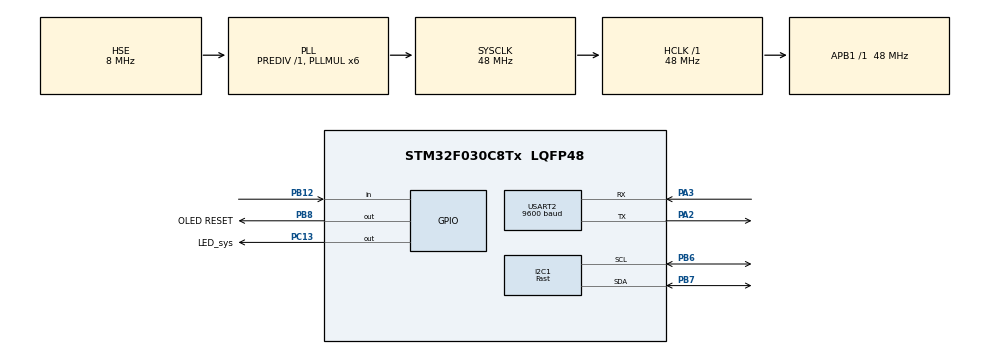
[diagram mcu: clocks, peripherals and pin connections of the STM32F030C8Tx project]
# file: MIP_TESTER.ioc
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I2C1.I2C_Speed_Mode=I2C_Fast
I2C1.Timing=0x0010020A
Mcu.Family=STM32F0
Mcu.Name=STM32F030C8Tx
Mcu.Package=LQFP48
PA13.Mode=Serial_Wire
PA13.Signal=SYS_SWDIO
PA14.Mode=Serial_Wire
PA14.Signal=SYS_SWCLK
PA2.Mode=Asynchronous
PA2.Signal=USART2_TX
PA3.Mode=Asynchronous
PA3.Signal=USART2_RX
PB12.GPIO_PuPd=GPIO_PULLUP
PB12.Signal=GPIO_Input
PB6.Mode=I2C
PB6.Signal=I2C1_SCL
PB7.Mode=I2C
PB7.Signal=I2C1_SDA
PB8.GPIO_Label=OLED RESET
PB8.PinState=GPIO_PIN_RESET
PB8.Signal=GPIO_Output
PC13.GPIO_Label=LED_sys
PC13.Signal=GPIO_Output
PF0-OSC_IN.Mode=HSE-External-Oscillator
PF0-OSC_IN.Signal=RCC_OSC_IN
PF1-OSC_OUT.Mode=HSE-External-Oscillator
PF1-OSC_OUT.Signal=RCC_OSC_OUT
ProjectManager.HeapSize=0x200
ProjectManager.StackSize=0x400
ProjectManager.TargetToolchain=STM32CubeIDE
RCC.AHBFreq_Value=48000000
RCC.APB1Freq_Value=48000000
RCC.APB1TimFreq_Value=48000000
RCC.HCLKFreq_Value=48000000
RCC.PLLMUL=RCC_PLL_MUL6
RCC.PLLSourceVirtual=RCC_PLLSOURCE_HSE
RCC.SYSCLKFreq_VALUE=48000000
RCC.SYSCLKSource=RCC_SYSCLKSOURCE_PLLCLK
USART2.BaudRate=9600
USART2.VirtualMode-Asynchronous=VM_ASYNC
board=custom

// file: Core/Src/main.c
/* USER CODE BEGIN Header */
/**
  ******************************************************************************
  * @file           : main.c
  * @brief          : Main program body
  ******************************************************************************
  * @attention
  *
  * Copyright (c) 2024 STMicroelectronics.
  * All rights reserved.
  *
  * This software is licensed under terms that can be found in the LICENSE file
  * in the root directory of this software component.
  * If no LICENSE file comes with this software, it is provided AS-IS.
  *
  ******************************************************************************
  */
/* USER CODE END Header */
#include "main.h"

/* USER CODE BEGIN Includes */
//#include "stdio.h"
#include "fonts.h"
#include "ssd1306.h"
#include "string.h"

/* USER CODE END Includes */

/* USER CODE BEGIN PD */
//#define X0 0	//ssd1306
#define X0 2	//sh1106
/* USER CODE END PD */

I2C_HandleTypeDef hi2c1;

UART_HandleTypeDef huart2;

/* USER CODE BEGIN PV */
_Bool short_state = 0; _Bool long_state = 0; uint32_t time_key1 = 0; //для кнопки
uint8_t page = 0; uint8_t selected = 0; uint8_t digitSelected = 0 ;uint8_t calibRestriction = 3;
uint32_t lastPing = 0;
uint8_t volPercent[]="0244";

/* USER CODE END PV */

void SystemClock_Config(void);
static void MX_GPIO_Init(void);
static void MX_I2C1_Init(void);
static void MX_USART2_UART_Init(void);

int main(void)
{

  /* USER CODE BEGIN 1 */
void lcdPrint(uint8_t x, uint8_t y, char message[], uint8_t fontsize){
	SSD1306_GotoXY(X0 + x, y);
	if 		(fontsize == 1) {SSD1306_Puts(message , &Font_7x10, 1);}
	else if (fontsize == 2) {SSD1306_Puts(message , &Font_11x18, 1);}
	else if (fontsize == 3) {SSD1306_Puts(message , &Font_16x26, 1);}
	else if	(fontsize == 10) {SSD1306_Puts(message , &Font_7x10, 0);}
	else if (fontsize == 20) {SSD1306_Puts(message , &Font_11x18, 0);}
	else if (fontsize == 30) {SSD1306_Puts(message , &Font_16x26, 0);}
}
void lcdPrintSymbol(uint8_t x, uint8_t y, char Symbol, uint8_t fontsize){
	SSD1306_GotoXY(X0 + x, y);
	if 		(fontsize == 1) {SSD1306_Putc(Symbol , &Font_7x10, 1);}
	else if (fontsize == 2) {SSD1306_Putc(Symbol , &Font_11x18, 1);}
	else if (fontsize == 3) {SSD1306_Putc(Symbol , &Font_16x26, 1);}
	else if	(fontsize == 10) {SSD1306_Putc(Symbol , &Font_7x10, 0);}
	else if (fontsize == 20) {SSD1306_Putc(Symbol , &Font_11x18, 0);}
	else if (fontsize == 30) {SSD1306_Putc(Symbol , &Font_16x26, 0);}
}

void lcdPrintUpdate(uint8_t x, uint8_t y, char message[], uint8_t fontsize){
	lcdPrint(x, y, message, fontsize);
	SSD1306_UpdateScreen();
}

void page0draw(void){
	if (HAL_GetTick()-lastPing > 1300){//таймаут опроса опроса
		HAL_GPIO_WritePin(GPIOC, GPIO_PIN_13, RESET);
		uint8_t msg[]={0x46,0x0D};  uint8_t rx_buffer[73]={0};  MX_USART2_UART_Init();

		HAL_UART_Transmit(&huart2, msg, sizeof(msg), 50);
		HAL_UART_Receive(&huart2, rx_buffer, 73, 100);
		if (rx_buffer[72] != 0x0D) {memset(rx_buffer, 0x20, sizeof(rx_buffer)/sizeof(rx_buffer[0]));}
		lastPing = HAL_GetTick();

		char C[6]={0};  char C1[6]={0};
		strncpy(C , &rx_buffer[43] , 5);
		strncpy(C1 , &rx_buffer[49] , 5);
		lcdPrint(0, 0, "C:        C1:", 1);
		lcdPrint(21, 0, C, 1); lcdPrint(91, 0, C1, 1);
	//		  	  lcdPrint(0, 0, rx_buffer, 1);//показать буфер

		char sn1[5]={0};	  char sn2[5]={0};
		strncpy(sn1 , &rx_buffer[61] , 4);
		strncpy(sn2 , &rx_buffer[65] , 4);
		lcdPrint(0, 13, "02", 2); lcdPrint(28, 13, sn1, 2); lcdPrint(78, 13, sn2, 2);

		uint8_t status[6]={0};
		strncpy(status , &rx_buffer[55] , 5);
		lcdPrint(0, 33, "status:", 1); lcdPrint(49, 33, status, 1);

	//	  char message[20]="";
		char message[20]={0};
		memset(message,' ',sizeof(message)/sizeof(message[0]));
		lcdPrint(0, 43, message, 1);
		if		(status[3] == '0' && status[4] == '0') {strcpy(message , "OK");}
		else if 	(status[3] == '1' && status[4] == '0') {strcpy(message , "warming up");}
		else if	(status[3] == '1' && status[4] == '1') {strcpy(message , "too many pings");}
		else if 	(status[3] == '2' && status[4] == '1') {strcpy(message , "dt/sec > 0.6 deg/s");}
		else if 	(status[3] == '2' && status[4] == '2') {strcpy(message , "dt/sec > 2 deg/s");}
		else if 	(status[3] == '2' && status[4] == '4') {strcpy(message , "dt; Zero < 0");}
		else if 	(status[3] == '3' && status[4] == '0') {strcpy(message , "Ur or Us < min");}
		else if 	(status[3] == '3' && status[4] == '1') {strcpy(message , "Zero < 0");}
		else if 	(status[3] == '4' && status[4] == '0') {strcpy(message , "temp not in range");}
		else if 	(status[3] == '5' && status[4] == '0') {strcpy(message , "rapid val changes");}
		else if 	(status[3] == '5' && status[4] == '1') {strcpy(message , "hardware error");}
		else if 	(status[3] == '9' && status[4] == '0') {strcpy(message , "software error");}
		else 											   {strcpy(message , "unknown");}
		lcdPrint(0, 43, message, 1);

	//	  char message2[10]="";
		char message2[10]={0};
		if (status[2] == '1') {strcpy(message2 , "LowPWR");}
		else if (status[2] == '0') {strcpy(message2 , "      ");}
		else {strcpy(message2 , "unknown");}
		lcdPrint(84, 33, message2, 1);

		char Um[6]={0};  char Ur[6]={0};
		strncpy(Um , &rx_buffer[19] , 5);
		strncpy(Ur , &rx_buffer[13] , 5);
		lcdPrint(0, 53, "Um:       Ur:", 1);
		lcdPrint(21, 53, Um, 1); lcdPrint(91, 53, Ur, 1);

		HAL_GPIO_WritePin(GPIOC, GPIO_PIN_13, SET);
		SSD1306_UpdateScreen();
	}
}
void pageMenuDraw(void){//menu
	HAL_GPIO_WritePin(GPIOC, GPIO_PIN_13, RESET);
	lcdPrint(0, 0,  " calibration", 1);
	lcdPrint(0, 10, " settings", 1);
	lcdPrint(0, 20, " parameters", 1);
//	lcdPrint(0, 30, " rezerv1", 1);
//	lcdPrint(0, 40, " rezerv2", 1);
	lcdPrint(0, 50, " Exit", 1);

	if (selected == 1){lcdPrint(0, 0,  "-", 1);};
	if (selected == 2){lcdPrint(0, 10, "-", 1);};
	if (selected == 3){lcdPrint(0, 20, "-", 1);};
//	if (selected == 3){lcdPrint(0, 30, "-", 1);};
//	if (selected == 4){lcdPrint(0, 40, "-", 1);};
	if (selected == 0){lcdPrint(0, 50, "-", 1);};

	SSD1306_UpdateScreen();
	HAL_GPIO_WritePin(GPIOC, GPIO_PIN_13, SET);
}

void pageCalibrationDraw(void){//calibration
//	lcdPrint(0, 0,  "    CALIBRATION", 1);
	lcdPrint(57, 0, " Help",   1);	if (selected == 1) {lcdPrint(57, 0, "-", 1);};
	lcdPrint(0, 0, " Zero  ",  1);	if (selected == 2) {lcdPrint(0, 0, "-", 1);};
	lcdPrint(0, 10, " Calib", 1);	if (selected == 3) {lcdPrint(0, 10, "-", 1);};
	lcdPrint(0, 22, " Zero0 ",  1);	if (selected == 4) {lcdPrint(0, 22, "-", 1);};
	lcdPrint(0, 32, " Init  ",  1);	if (selected == 5) {lcdPrint(0, 32, "-", 1);};
	lcdPrint(0, 42, " Zero2 ",  1);	if (selected == 6) {lcdPrint(0, 42, "-", 1);};
	lcdPrint(0, 53, " Exit",   1);	if (selected == 0) {lcdPrint(0, 53, "-", 1);};

	if (HAL_GetTick()-lastPing > 1300){
		HAL_GPIO_WritePin(GPIOC, GPIO_PIN_13, RESET);
		MX_USART2_UART_Init(); uint8_t msg[] = "CCS\r"; uint8_t rx_bufferA[19] = {0};
		HAL_UART_Transmit(&huart2, msg, sizeof(msg), 50);
		HAL_UART_Receive(&huart2, rx_bufferA, 18, 50);
		lastPing = HAL_GetTick();
		if (rx_bufferA[17] != 0x0D) {memset(rx_bufferA, 0x20, sizeof(rx_bufferA)/sizeof(rx_bufferA[0]));}
		HAL_GPIO_WritePin(GPIOC, GPIO_PIN_13, SET);
//		lcdPrint(0, 00, rx_bufferA, 1);
		char C1[6]; 	strncpy(C1, &rx_bufferA[0] , 5); 	lcdPrint(71, 33, "C1:", 1);		 lcdPrint(92, 33, C1, 1);
		char Temp[6]; 	strncpy(Temp, &rx_bufferA[6] , 5);	lcdPrint(57, 43, "Temp:", 1);	 lcdPrint(92, 43, Temp, 1);
		char Stat[6]; 	strncpy(Stat, &rx_bufferA[12] , 5);	lcdPrint(57, 53, "Stat:", 1);	 lcdPrint(92, 53, Stat, 1);
//		uint16_t NKPR = atoi(C1); NKPR = round(NKPR/4.4); if(NKPR>999){NKPR=999;} if(C1[0]==0x2D){NKPR=0;}
		int16_t NKPR = atoi(C1); NKPR = round(NKPR/4.4f); if (C1[0]==0x2D){NKPR=-1;} else if (C1[0]==0x20){NKPR=-11;} else if (NKPR>999){NKPR=999;}
		char NKPRchar[3];	lcdPrint(92, 12, "   ", 2);	sprintf (NKPRchar, "%d", NKPR);
//		char NKPRchar[3];	lcdPrint(92, 12, "   ", 2);	sprintf (NKPRchar, "%u", NKPR);
		lcdPrint(57, 20, "NKPR:", 1);	lcdPrint(92, 12, NKPRchar, 2);
	}

	SSD1306_DrawLine(0, 20, 55, 20, 1); SSD1306_DrawLine(0, 52, 55, 52, 1); SSD1306_DrawLine(55, 10, 128, 10, 1);	SSD1306_DrawLine(55, 0, 55, 64, 1);	SSD1306_DrawLine(55, 30, 128, 30, 1);
	SSD1306_UpdateScreen();
}
void zero(void){
	while (HAL_GetTick()-lastPing < 1300) { }
	HAL_GPIO_WritePin(GPIOC, GPIO_PIN_13, RESET);
	uint8_t msg[]="ZERO\r";
	uint8_t rx_buff[10]={0};
//	memset(rx_buff, 0x20, sizeof(rx_buff)/sizeof(rx_buff[0]));
	MX_USART2_UART_Init();
	HAL_UART_Transmit(&huart2, msg, sizeof(msg), 50);
	HAL_UART_Receive(&huart2, rx_buff, 10, 50);
	lastPing = HAL_GetTick();
	if (rx_buff[5]==0x4F && rx_buff[6]==0x4B){lcdPrintUpdate(7, 0, "OK    ",  1);}
	else {lcdPrintUpdate(7, 0, "FAULT ",  1);}
	HAL_GPIO_WritePin(GPIOC, GPIO_PIN_13, SET);
	HAL_Delay(1000);
}
void zero0(void){
	while (HAL_GetTick()-lastPing < 1300) { }
	HAL_GPIO_WritePin(GPIOC, GPIO_PIN_13, RESET);
	uint8_t msg[]="ZERO0\r";
	uint8_t rx_buff[10]={0};
//	memset(rx_buff, 0x20, sizeof(rx_buff)/sizeof(rx_buff[0]));
	MX_USART2_UART_Init();
	HAL_UART_Transmit(&huart2, msg, sizeof(msg), 50);
	HAL_UART_Receive(&huart2, rx_buff, 10, 50);
	lastPing = HAL_GetTick();
	if (rx_buff[6]==0x4F && rx_buff[7]==0x4B){lcdPrintUpdate(7, 22, "OK    ",  1);}
	else {lcdPrintUpdate(7, 22, "FAULT ",  1);}
	HAL_GPIO_WritePin(GPIOC, GPIO_PIN_13, SET);
	HAL_Delay(1000);
}
void init(void){
	while (HAL_GetTick()-lastPing < 1300) { }
	HAL_GPIO_WritePin(GPIOC, GPIO_PIN_13, RESET);
	uint8_t msg[]="INIT\r";
	uint8_t rx_buff[10]={0};
//	memset(rx_buff, 0x20, sizeof(rx_buff)/sizeof(rx_buff[0]));
	MX_USART2_UART_Init();
	HAL_UART_Transmit(&huart2, msg, sizeof(msg), 50);
	HAL_UART_Receive(&huart2, rx_buff, 10, 50);
	lastPing = HAL_GetTick();
	if (rx_buff[5]==0x4F && rx_buff[6]==0x4B){lcdPrintUpdate(7, 32, "OK    ",  1);}
	else {lcdPrintUpdate(7, 32, "FAULT ",  1);}
	HAL_GPIO_WritePin(GPIOC, GPIO_PIN_13, SET);
	HAL_Delay(1000);
}
void zero2(void){
	while (HAL_GetTick()-lastPing < 1300) { }
	HAL_GPIO_WritePin(GPIOC, GPIO_PIN_13, RESET);
	uint8_t msg[]="ZERO2\r";
	uint8_t rx_buff[10]={0};
//	memset(rx_buff, 0x20, sizeof(rx_buff)/sizeof(rx_buff[0]));
	MX_USART2_UART_Init();
	HAL_UART_Transmit(&huart2, msg, sizeof(msg), 50);
	HAL_UART_Receive(&huart2, rx_buff, 10, 50);
	lastPing = HAL_GetTick();
	if (rx_buff[6]==0x4F && rx_buff[7]==0x4B){lcdPrintUpdate(7, 42, "OK    ",  1);}
	else {lcdPrintUpdate(7, 42, "FAULT ",  1);}
	HAL_GPIO_WritePin(GPIOC, GPIO_PIN_13, SET);
	HAL_Delay(1000);
}
void pageCalib50draw(void){
	uint8_t Y = 22;
	lcdPrint(0, 0, "VOL.PERCENT", 2);
	selected == 1 ?	lcdPrintSymbol(35, Y, volPercent[0], 20)	:	lcdPrintSymbol(35, Y, volPercent[0], 2);
	selected == 2 ? lcdPrintSymbol(35+11, Y, volPercent[1], 20)	:	lcdPrintSymbol(35+11, Y, volPercent[1], 2);
	lcdPrint	  (35+22, Y, ",", 2);
	selected == 3 ? lcdPrintSymbol(35+33, Y, volPercent[2], 20)	:	lcdPrintSymbol(35+33, Y, volPercent[2], 2);
	selected == 4 ? lcdPrintSymbol(35+44, Y, volPercent[3], 20)	:	lcdPrintSymbol(35+44, Y, volPercent[3], 2);
	selected == 0 ? lcdPrint(0,		 64-19, "Exit", 20)			:	lcdPrint(0,		 64-19, "Exit", 2);
	selected == 5 ? lcdPrint(128-23, 64-19, "OK", 20)			:	lcdPrint(128-23, 64-19, "OK", 2);
	SSD1306_UpdateScreen();
}
void pageDigitSelect(void){
	lcdPrint(0, 0, "              ", 2);
	for (uint8_t i = 0; i < 10; i++) {
		digitSelected == i ? lcdPrintSymbol(4+i*11, 0, i+48, 20)	:	lcdPrintSymbol(4+i*11, 0, i+48, 2);
	}
	SSD1306_UpdateScreen();
}
void setPGSfunk(void){
	SSD1306_Clear();
	while (HAL_GetTick()-lastPing < 1300) { }
	HAL_GPIO_WritePin(GPIOC, GPIO_PIN_13, RESET);
	uint8_t msg[10]={0};
	sprintf (msg, "CALB %.4s", volPercent);
	lcdPrintUpdate(11, 22, msg,   2);
	sprintf (msg, "CALB %s\r", volPercent);
	HAL_Delay(800);
	uint8_t rx_buff[15]={0};
	MX_USART2_UART_Init();
	HAL_UART_Transmit(&huart2, msg, sizeof(msg), 50);
	HAL_UART_Receive(&huart2, rx_buff, 15, 50);
	lastPing = HAL_GetTick();
	if (rx_buff[10]==0x4F && rx_buff[11]==0x4B){lcdPrintUpdate(10, 22, "    OK    ",  2); page = 2; selected = 3;}
	else {lcdPrintUpdate(10, 22, "  FAULT    ",  2);}
	HAL_GPIO_WritePin(GPIOC, GPIO_PIN_13, SET);
	HAL_Delay(1000);
	SSD1306_Clear();
}
void pageSettingsDraw(void){
	lcdPrint(0, 50, " Exit", 	 1);		if (selected == 0) {lcdPrint(0, 50, "-", 1);};
	lcdPrint(0, 0,	" OEM/USR?",   1);		if (selected == 1) {lcdPrint(0, 0, "-", 1);};
	lcdPrint(0, 10, " set OEM",	 1);		if (selected == 2) {lcdPrint(0, 10, "-", 1);};
	lcdPrint(0, 20, " set USER",	 1);	if (selected == 3) {lcdPrint(0, 20, "-", 1);};
	lcdPrint(0, 30, " LOWPWR_0",	 1);	if (selected == 4) {lcdPrint(0, 30, "-", 1);};
	lcdPrint(0, 40, " LOWPWR_1",	 1);	if (selected == 5) {lcdPrint(0, 40, "-", 1);};
	SSD1306_UpdateScreen();
}
void oemUserQuestion(void){
	while (HAL_GetTick()-lastPing < 1300) { }
		HAL_GPIO_WritePin(GPIOC, GPIO_PIN_13, RESET);
		lcdPrint(7, 0,	"        ",   1);
		uint8_t msg[]="UART?\r";	uint8_t rx_buff[10]={0};	MX_USART2_UART_Init();
		HAL_UART_Transmit(&huart2, msg, sizeof(msg), 50);
		HAL_UART_Receive(&huart2, rx_buff, 10, 50);
		lastPing = HAL_GetTick();
		if (rx_buff[0] == 0x4F ) {lcdPrintUpdate(7, 0, "OEM",  1);}
		else if (rx_buff[0] == 0x55 ) {lcdPrintUpdate(7, 0, "USER",  1);}
		else {lcdPrintUpdate(7, 0, "FAULT",  1);}
		HAL_GPIO_WritePin(GPIOC, GPIO_PIN_13, SET);
		HAL_Delay(1000);
}
void oem(void){
	while (HAL_GetTick()-lastPing < 1300) { }
		HAL_GPIO_WritePin(GPIOC, GPIO_PIN_13, RESET);
		lcdPrint(7, 10,	"        ",   1);
		uint8_t msg[]="OEM 0000\r";	uint8_t rx_buff[10]={0};	MX_USART2_UART_Init();
		//добавить определение пароля
		HAL_UART_Transmit(&huart2, msg, sizeof(msg), 50);
		HAL_UART_Receive(&huart2, rx_buff, 10, 50);
		lastPing = HAL_GetTick();
		if (rx_buff[0] == 0x4F ) {lcdPrintUpdate(7, 10, "OK",  1);}
		else {lcdPrintUpdate(7, 10, "FAULT",  1);}
//		lcdPrintUpdate(7, 10, rx_buff,  1);
		HAL_GPIO_WritePin(GPIOC, GPIO_PIN_13, SET);
		HAL_Delay(1000);
}
void user(void){
	while (HAL_GetTick()-lastPing < 1300) { }
		HAL_GPIO_WritePin(GPIOC, GPIO_PIN_13, RESET);
		lcdPrint(7, 20,	"        ",   1);
		uint8_t msg[]="USER\r";	uint8_t rx_buff[10]={0};	MX_USART2_UART_Init();
		HAL_UART_Transmit(&huart2, msg, sizeof(msg), 50);
		HAL_UART_Receive(&huart2, rx_buff, 10, 50);
		lastPing = HAL_GetTick();
		if (rx_buff[0] == 0x55 ) {lcdPrintUpdate(7, 20, "OK",  1);}
		else {lcdPrintUpdate(7, 20, "FAULT",  1);}
//		lcdPrintUpdate(7, 20, rx_buff,  1);
		HAL_GPIO_WritePin(GPIOC, GPIO_PIN_13, SET);
		HAL_Delay(1000);
}
void LOWPWR0(void){
	while (HAL_GetTick()-lastPing < 1300) { }
		lcdPrint(7, 30,	"        ",   1);
		uint8_t rx_buff[15]={0};
		HAL_GPIO_WritePin(GPIOC, GPIO_PIN_13, RESET);
		uint8_t msg[]="LOWPW0\r";
		MX_USART2_UART_Init();
		HAL_UART_Transmit(&huart2, msg, sizeof(msg), 50);
		HAL_UART_Receive(&huart2, rx_buff, 15, 50);
		lastPing = HAL_GetTick();
		if (rx_buff[7] == 0x4F ) {lcdPrintUpdate(7, 30, "OK",  1);}
		else {lcdPrintUpdate(7, 30, "FAULT",  1);}
//		lcdPrintUpdate(7, 30, rx_buff,  1);
		HAL_GPIO_WritePin(GPIOC, GPIO_PIN_13, SET);
		HAL_Delay(1000);
}
void LOWPWR1(void){
	while (HAL_GetTick()-lastPing < 1300) { }
		lcdPrint(7, 40,	"        ",   1);
		uint8_t rx_buff[15]={0};
		HAL_GPIO_WritePin(GPIOC, GPIO_PIN_13, RESET);
		uint8_t msg[]="LOWPW1\r";
		MX_USART2_UART_Init();
		HAL_UART_Transmit(&huart2, msg, sizeof(msg), 50);
		HAL_UART_Receive(&huart2, rx_buff, 15, 50);
		lastPing = HAL_GetTick();
		if (rx_buff[1] == 0x4F ) {lcdPrintUpdate(7, 40, "OK",  1);}
		else {lcdPrintUpdate(7, 40, "FAULT",  1);}
//		lcdPrintUpdate(7, 40, rx_buff,  1);
		HAL_GPIO_WritePin(GPIOC, GPIO_PIN_13, SET);
		HAL_Delay(1000);
}

void pageParamsDraw(void){
	if (HAL_GetTick()-lastPing > 1300){//таймаут опроса опроса
		HAL_GPIO_WritePin(GPIOC, GPIO_PIN_13, RESET);
		uint8_t msg[]={0x46,0x0D};  uint8_t rx_buffer[73]={0};  MX_USART2_UART_Init();
		HAL_UART_Transmit(&huart2, msg, sizeof(msg), 50);
		HAL_UART_Receive(&huart2, rx_buffer, 73, 100);
		lastPing = HAL_GetTick();
		char C[6]={0}; char C1[6]={0}; char Um[6]={0}; char Ur[6]={0}; char Stz0[6]={0}; char Stz[6]={0}; char St[6]={0};  char Stzkt[6]={0};
		strncpy(C , &rx_buffer[43] , 5); strncpy(C1 , &rx_buffer[49] , 5);
		strncpy(Stz0 , &rx_buffer[25] , 5); strncpy(Stz , &rx_buffer[31] , 5);
		strncpy(St , &rx_buffer[7] , 5); strncpy(Stzkt , &rx_buffer[37] , 5);
		strncpy(Um , &rx_buffer[19] , 5);  strncpy(Ur , &rx_buffer[13] , 5);
		lcdPrint(0, 0, "C :     ", 1); lcdPrint(21, 0, C, 1); lcdPrint(63, 0, "C1 :     ", 1); lcdPrint(91, 0, C1, 1);
		lcdPrint(0, 15, "S0:     ", 1); lcdPrint(21, 15, Stz0, 1);	lcdPrint(63, 15, "Stz:     ", 1); lcdPrint(91, 15, Stz, 1);
		lcdPrint(0, 25, "St:     ", 1); lcdPrint(21, 25, St, 1);	lcdPrint(63, 25, "Skt:     ", 1); lcdPrint(91, 25, Stzkt, 1);
		lcdPrint(0, 40, "Um:     ", 1); lcdPrint(21, 40, Um, 1);  lcdPrint(63, 40, "Ur :     ", 1);  lcdPrint(91, 40, Ur, 1);
		lcdPrint(0, 53, " Exit",   1);	if (selected == 0) {lcdPrint(0, 53, "-", 1);};
		HAL_GPIO_WritePin(GPIOC, GPIO_PIN_13, SET);
		SSD1306_UpdateScreen();
	}
}
  /* USER CODE END 1 */

  /* MCU Configuration--------------------------------------------------------*/

  /* Reset of all peripherals, Initializes the Flash interface and the Systick. */
  HAL_Init();

  /* Configure the system clock */
  SystemClock_Config();

  /* Initialize all configured peripherals */
  MX_GPIO_Init();
  MX_I2C1_Init();
  MX_USART2_UART_Init();
  /* USER CODE BEGIN 2 */
//  HAL_Delay(1000);
  	HAL_GPIO_WritePin(GPIOB, GPIO_PIN_8, GPIO_PIN_SET);
	SSD1306_Init();
//	lcdPrint(35, 0, "BOBER", 2);
//	lcdPrint(35, 19, "KURWA", 2);
//	lcdPrint(9, 38, "TESTER v13", 2);
	lcdPrint(5, 0, "BOBER KURWA", 2);
	lcdPrint(10, 19, "TESTER v13", 2);
	lcdPrint(45, 52, "НПО УРАЛТЕХ", 1);
	SSD1306_UpdateScreen();
	HAL_Delay(1000);
	SSD1306_Clear();
//  lastPing = HAL_GetTick()-1000;
  /* USER CODE END 2 */

  /* Infinite loop */
  /* USER CODE BEGIN WHILE */
while (1){
	uint32_t ms = HAL_GetTick();
	_Bool key1_state = HAL_GPIO_ReadPin(GPIOB, GPIO_PIN_12);
	if(key1_state == 0 && !short_state && (ms - time_key1) > 50) {short_state = 1; long_state = 0; time_key1 = ms;}
	else if(key1_state == 0 && !long_state && (ms - time_key1) > 500){// действие на длинное нажатие
		long_state = 1;

		if 		(page == 0 && selected == 7)	 {calibRestriction = 6;}//снять ограничение на калибровку
		if 		(page == 0)						{page = 1; selected = 1; SSD1306_Clear();}//to menu

		else if 	(page == 1 && selected == 0)	{page = 0; selected = 0; SSD1306_Clear();}//exit
		else if 	(page == 1 && selected == 1)	{page = 2; selected = 2; SSD1306_Clear();}//to calibration
		else if 	(page == 1 && selected == 2)	{page = 3; selected = 1; SSD1306_Clear();}//settings
		else if 	(page == 1 && selected == 3)	{page = 4; selected = 0; SSD1306_Clear();}//params
	//	  else if 	(page == 1 && selected == 4)	{page = 5; selected = 0; SSD1306_Clear();}//rezerv1
	//	  else if 	(page == 1 && selected == 5)	{page = 6; selected = 0; SSD1306_Clear();}//rezerv2

		else if 	(page == 2 && selected == 0)	{page = 1; selected = 1; calibRestriction = 3; SSD1306_Clear();}//exit to menu
		else if 	(page == 2 && selected == 1)	{}													//help
		else if 	(page == 2 && selected == 2)	{lcdPrintUpdate(0, 0, "|", 1); zero();}				//zero
		else if 	(page == 2 && selected == 3)	{page = 20; selected = 1; SSD1306_Clear();}			//set 50 page
		else if 	(page == 2 && selected == 4)	{lcdPrintUpdate(0, 22, "|", 1); zero0();}			//zero0
		else if 	(page == 2 && selected == 5)	{lcdPrintUpdate(0, 32, "|", 1); init();}			//init
		else if 	(page == 2 && selected == 6)	{lcdPrintUpdate(0, 42, "|", 1); zero2();}			//zero2

		else if 	(page == 20 && selected == 5)	{setPGSfunk();}										//set PGS funk
		else if 	(page == 20 && selected == 0)	{page = 2; selected = 3; SSD1306_Clear();}			//exit to menu
		else if 	(page == 20 && selected < 5)	{page = 21; digitSelected = volPercent[selected-1]-48;}				//

		else if 	(page == 21)					{page = 20; volPercent[selected-1] = digitSelected+48;}				//change digit

		else if 	(page == 3 && selected == 0)	{page = 1; selected = 2; SSD1306_Clear();}			//exit to menu
		else if 	(page == 3 && selected == 1)	{lcdPrintUpdate(0, 0, "|", 1); oemUserQuestion();}	//oemUserQuestion
		else if 	(page == 3 && selected == 2)	{lcdPrintUpdate(0, 10, "|", 1); oem();}		 		//oem
		else if 	(page == 3 && selected == 3)	{lcdPrintUpdate(0, 20, "|", 1); user();}		 	//user
		else if 	(page == 3 && selected == 4)	{lcdPrintUpdate(0, 30, "|", 1); LOWPWR0();}			//LOWPWR0
		else if 	(page == 3 && selected == 5)	{lcdPrintUpdate(0, 40, "|", 1); LOWPWR1();}			//LOWPWR1

		else if 	(page == 4 && selected == 0)	{page = 1; selected = 3; SSD1306_Clear();}			//exit to menu
	}
	else if(key1_state == 1 && short_state && (ms - time_key1) > 50){
		short_state = 0;
		time_key1 = ms;
		if(!long_state){// действие на короткое нажатие
			if (page==0) {selected++; if (selected > 7) {selected=0;}} 					//0page
			if (page==1) {selected++; if (selected > 3) {selected=0;}} 					//menu
			if (page==2) {selected++; if (selected > calibRestriction) {selected=0;}} 	//calib
			if (page==3) {selected++; if (selected > 5) {selected=0;}} 					//settingss
			if (page==20) {selected++;if (selected > 5) {selected=0;}}  				//calib
			if (page==21) {digitSelected++;if (digitSelected > 9) {digitSelected=0;}}  	//digit
	  	}
	}

	if (page == 0) {page0draw();}
	if (page == 1) {pageMenuDraw();}
	if (page == 2) {pageCalibrationDraw();}
	if (page == 20) {pageCalib50draw();}
	if (page == 21) {pageDigitSelect();}
	if (page == 3) {pageSettingsDraw();}
	if (page == 4) {pageParamsDraw();}
    /* USER CODE END WHILE */

}
}

void SystemClock_Config(void)
{
  RCC_OscInitTypeDef RCC_OscInitStruct = {0};
  RCC_ClkInitTypeDef RCC_ClkInitStruct = {0};
  RCC_PeriphCLKInitTypeDef PeriphClkInit = {0};

  /** Initializes the RCC Oscillators according to the specified parameters
  * in the RCC_OscInitTypeDef structure.
  */
  RCC_OscInitStruct.OscillatorType = RCC_OSCILLATORTYPE_HSI|RCC_OSCILLATORTYPE_HSE;
  RCC_OscInitStruct.HSEState = RCC_HSE_ON;
  RCC_OscInitStruct.HSIState = RCC_HSI_ON;
  RCC_OscInitStruct.HSICalibrationValue = RCC_HSICALIBRATION_DEFAULT;
  RCC_OscInitStruct.PLL.PLLState = RCC_PLL_ON;
  RCC_OscInitStruct.PLL.PLLSource = RCC_PLLSOURCE_HSE;
  RCC_OscInitStruct.PLL.PLLMUL = RCC_PLL_MUL6;
  RCC_OscInitStruct.PLL.PREDIV = RCC_PREDIV_DIV1;
  if (HAL_RCC_OscConfig(&RCC_OscInitStruct) != HAL_OK)
  {
    Error_Handler();
  }

  /** Initializes the CPU, AHB and APB buses clocks
  */
  RCC_ClkInitStruct.ClockType = RCC_CLOCKTYPE_HCLK|RCC_CLOCKTYPE_SYSCLK
                              |RCC_CLOCKTYPE_PCLK1;
  RCC_ClkInitStruct.SYSCLKSource = RCC_SYSCLKSOURCE_PLLCLK;
  RCC_ClkInitStruct.AHBCLKDivider = RCC_SYSCLK_DIV1;
  RCC_ClkInitStruct.APB1CLKDivider = RCC_HCLK_DIV1;

  if (HAL_RCC_ClockConfig(&RCC_ClkInitStruct, FLASH_LATENCY_1) != HAL_OK)
  {
    Error_Handler();
  }
  PeriphClkInit.PeriphClockSelection = RCC_PERIPHCLK_I2C1;
  PeriphClkInit.I2c1ClockSelection = RCC_I2C1CLKSOURCE_HSI;
  if (HAL_RCCEx_PeriphCLKConfig(&PeriphClkInit) != HAL_OK)
  {
    Error_Handler();
  }
}

static void MX_I2C1_Init(void)
{

  hi2c1.Instance = I2C1;
  hi2c1.Init.Timing = 0x0010020A;
  hi2c1.Init.OwnAddress1 = 0;
  hi2c1.Init.AddressingMode = I2C_ADDRESSINGMODE_7BIT;
  hi2c1.Init.DualAddressMode = I2C_DUALADDRESS_DISABLE;
  hi2c1.Init.OwnAddress2 = 0;
  hi2c1.Init.OwnAddress2Masks = I2C_OA2_NOMASK;
  hi2c1.Init.GeneralCallMode = I2C_GENERALCALL_DISABLE;
  hi2c1.Init.NoStretchMode = I2C_NOSTRETCH_DISABLE;
  if (HAL_I2C_Init(&hi2c1) != HAL_OK)
  {
    Error_Handler();
  }

  /** Configure Analogue filter
  */
  if (HAL_I2CEx_ConfigAnalogFilter(&hi2c1, I2C_ANALOGFILTER_ENABLE) != HAL_OK)
  {
    Error_Handler();
  }

  /** Configure Digital filter
  */
  if (HAL_I2CEx_ConfigDigitalFilter(&hi2c1, 0) != HAL_OK)
  {
    Error_Handler();
  }

}

static void MX_USART2_UART_Init(void)
{

  huart2.Instance = USART2;
  huart2.Init.BaudRate = 9600;
  huart2.Init.WordLength = UART_WORDLENGTH_8B;
  huart2.Init.StopBits = UART_STOPBITS_1;
  huart2.Init.Parity = UART_PARITY_NONE;
  huart2.Init.Mode = UART_MODE_TX_RX;
  huart2.Init.HwFlowCtl = UART_HWCONTROL_NONE;
  huart2.Init.OverSampling = UART_OVERSAMPLING_16;
  huart2.Init.OneBitSampling = UART_ONE_BIT_SAMPLE_DISABLE;
  huart2.AdvancedInit.AdvFeatureInit = UART_ADVFEATURE_NO_INIT;
  if (HAL_UART_Init(&huart2) != HAL_OK)
  {
    Error_Handler();
  }

}

static void MX_GPIO_Init(void)
{
  GPIO_InitTypeDef GPIO_InitStruct = {0};

  /* GPIO Ports Clock Enable */
  __HAL_RCC_GPIOC_CLK_ENABLE();
  __HAL_RCC_GPIOF_CLK_ENABLE();
  __HAL_RCC_GPIOA_CLK_ENABLE();
  __HAL_RCC_GPIOB_CLK_ENABLE();

  /*Configure GPIO pin Output Level */
  HAL_GPIO_WritePin(LED_sys_GPIO_Port, LED_sys_Pin, GPIO_PIN_RESET);

  /*Configure GPIO pin Output Level */
  HAL_GPIO_WritePin(OLED_RESET_GPIO_Port, OLED_RESET_Pin, GPIO_PIN_RESET);

  /*Configure GPIO pin : LED_sys_Pin */
  GPIO_InitStruct.Pin = LED_sys_Pin;
  GPIO_InitStruct.Mode = GPIO_MODE_OUTPUT_PP;
  GPIO_InitStruct.Pull = GPIO_NOPULL;
  GPIO_InitStruct.Speed = GPIO_SPEED_FREQ_LOW;
  HAL_GPIO_Init(LED_sys_GPIO_Port, &GPIO_InitStruct);

  /*Configure GPIO pin : PB12 */
  GPIO_InitStruct.Pin = GPIO_PIN_12;
  GPIO_InitStruct.Mode = GPIO_MODE_INPUT;
  GPIO_InitStruct.Pull = GPIO_PULLUP;
  HAL_GPIO_Init(GPIOB, &GPIO_InitStruct);

  /*Configure GPIO pin : OLED_RESET_Pin */
  GPIO_InitStruct.Pin = OLED_RESET_Pin;
  GPIO_InitStruct.Mode = GPIO_MODE_OUTPUT_PP;
  GPIO_InitStruct.Pull = GPIO_NOPULL;
  GPIO_InitStruct.Speed = GPIO_SPEED_FREQ_LOW;
  HAL_GPIO_Init(OLED_RESET_GPIO_Port, &GPIO_InitStruct);

}

void Error_Handler(void)
{
  __disable_irq();
  while (1)
  {
  }
}
